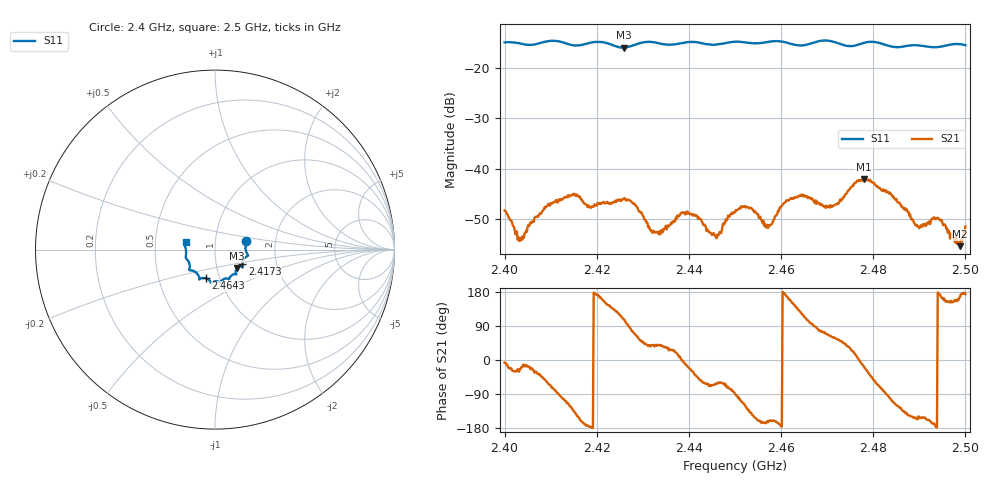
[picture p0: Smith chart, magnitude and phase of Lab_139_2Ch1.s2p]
# Hz S RI R 50
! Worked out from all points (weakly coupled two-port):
!   601 points, 2.4 GHz to 2.5 GHz, reference 50 ohm
!   highest |S21| = -42.17 dB at 2.478 GHz (marker M1); lowest = -55.5 dB at 2.4988 GHz (marker M2)
!   lowest |S11| = -15.9 dB at 2.4258 GHz (marker M3), VSWR 1.38, Z = 62.3 - j13.3 ohm
!   |S11| at or under -10 dB: start of sweep to end of sweep
!   S12 and S22 are empty: the file has one direction only
!   S11 on the Smith chart (normalised r, x): 2.4 GHz: 1.41, +0.14; 2.4173 GHz: 1.34, -0.23; 2.4643 GHz: 0.86, -0.28; 2.5 GHz: 0.72, +0.06
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2.4e9  0.1734 0.0494  0.00379 -0.000454  0 0  0 0
2.403333e9  0.1728 0.0321  0.00175 -0.000752  0 0  0 0
2.409167e9  0.1822 -0.0292  0.00225 -0.00355  0 0  0 0
2.416667e9  0.1526 -0.0748  -0.0047 -0.00157  0 0  0 0
2.417333e9  0.152 -0.0822  -0.00442 -0.000848  0 0  0 0
2.425833e9  0.1216 -0.1037  -0.0015 0.00473  0 0  0 0
2.433333e9  0.1128 -0.1366  0.00174 0.00147  0 0  0 0
2.439333e9  0.0805 -0.1611  0.00358 -0.000739  0 0  0 0
2.446e9  0.0473 -0.1647  0.000902 -0.00181  0 0  0 0
2.45e9  0.0295 -0.1808  8.78e-05 -0.00367  0 0  0 0
2.453167e9  0.0164 -0.1772  -0.00293 -0.00274  0 0  0 0
2.457167e9  -0.0149 -0.1816  -0.00246 -0.000692  0 0  0 0
2.460833e9  -0.0256 -0.1792  -0.00456 0.000504  0 0  0 0
2.464333e9  -0.0504 -0.1602  -0.00312 0.00447  0 0  0 0
2.466667e9  -0.0763 -0.1595  -0.000479 0.00504  0 0  0 0
2.471333e9  -0.0871 -0.1615  0.00211 0.00371  0 0  0 0
2.478e9  -0.1356 -0.1163  0.00741 -0.00239  0 0  0 0
2.483333e9  -0.1404 -0.0892  -0.00064 -0.00579  0 0  0 0
2.4895e9  -0.1629 -0.0441  -0.00244 -0.00127  0 0  0 0
2.494333e9  -0.1623 0.00274  -0.0031 0.000384  0 0  0 0
2.498833e9  -0.1696 0.0352  -0.00164 0.000389  0 0  0 0
2.5e9  -0.1638 0.0418  -0.00263 0.000263  0 0  0 0
